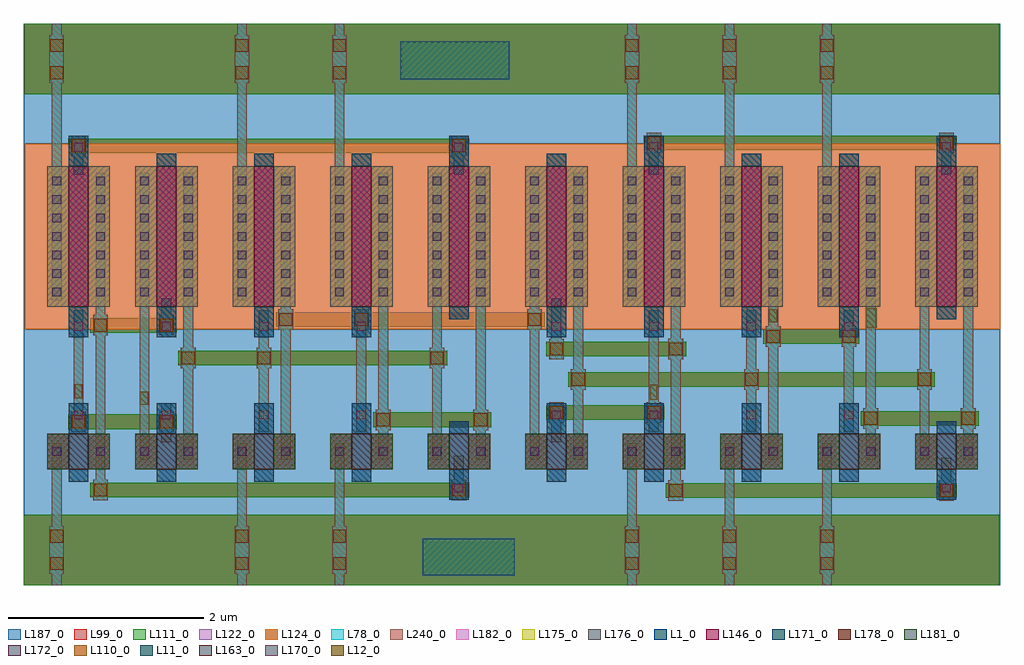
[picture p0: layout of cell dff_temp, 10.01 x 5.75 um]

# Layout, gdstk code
import gdstk
lib = gdstk.Library(unit=1e-6, precision=1e-09)
def R(c, l, rs):  # rectangles x0, y0, x1, y1
    for r in rs: c.add(gdstk.rectangle(r[:2], r[2:], *l))
def A(c, l, x, y, w, h, nx, ny, dx, dy):  # array of equal rectangles
    R(c, l, [(x+i*dx, y+j*dy, x+i*dx+w, y+j*dy+h) for i in range(nx) for j in range(ny)])
def P(c, l, *ps):  # polygons
    for p in ps: c.add(gdstk.Polygon(p, *l))
L1_0 = (1, 0)
L11_0 = (11, 0)
L12_0 = (12, 0)
L78_0 = (78, 0)
L99_0 = (99, 0)
L110_0 = (110, 0)
L111_0 = (111, 0)
L122_0 = (122, 0)
L124_0 = (124, 0)
L146_0 = (146, 0)
L163_0 = (163, 0)
L170_0 = (170, 0)
L171_0 = (171, 0)
L172_0 = (172, 0)
L175_0 = (175, 0)
L176_0 = (176, 0)
L178_0 = (178, 0)
L181_0 = (181, 0)
L182_0 = (182, 0)
L187_0 = (187, 0)
L240_0 = (240, 0)

dff_temp = lib.new_cell('dff_temp')
A(dff_temp, L1_0, 5.305, -6.915, 0.2, 0.805, 3, 1, 1, 0)
A(dff_temp, L1_0, 9.305, -6.915, 0.2, 0.805, 4, 1, 1, 0)
A(dff_temp, L1_0, 5.305, -5.435, 0.2, 1.885, 3, 1, 1, 0)
R(dff_temp, L1_0, [(8.305,-7.1,8.505,-6.295), (13.305,-7.1,13.505,-6.295), (4.405,-6.915,4.605,-6.11), (4.405,-5.435,4.605,-3.365), (9.305,-5.435,9.505,-3.55), (10.305,-5.435,10.505,-3.365), (11.305,-5.435,11.505,-3.55), (12.305,-5.435,12.505,-3.55), (8.305,-5.25,8.505,-3.365), (13.305,-5.25,13.505,-3.365)])
R(dff_temp, L11_0, [(8.035,-7.875,8.98,-7.5), (7.805,-2.785,8.92,-2.4)])
R(dff_temp, L12_0, [(5.135,-6.125,5.22,-5.99), (10.37,-6.075,10.44,-5.92), (4.465,-6.06,4.54,-5.915), (12.585,-5.335,12.69,-5.135), (11.59,-5.28,11.67,-5.145)])
R(dff_temp, L78_0, [(5.13,-6.69,5.23,-3.745)])
P(dff_temp, L78_0, [(4.78,-3.745),(4.78,-5.205),(4.805,-5.205),(4.805,-5.415),(4.78,-5.415),(4.78,-6.895),(4.805,-6.895),(4.805,-7.105),(4.655,-7.105),(4.655,-6.895),(4.68,-6.895),(4.68,-5.415),(4.655,-5.415),(4.655,-5.205),(4.68,-5.205),(4.68,-3.745)],
  [(4.58,-3.365),(4.58,-3.575),(4.555,-3.575),(4.555,-3.765),(4.455,-3.765),(4.455,-3.575),(4.43,-3.575),(4.43,-3.365)],
  [(4.33,-2.22),(4.33,-2.335),(4.355,-2.335),(4.355,-2.825),(4.33,-2.825),(4.33,-5.055),(4.23,-5.055),(4.23,-2.825),(4.205,-2.825),(4.205,-2.335),(4.23,-2.335),(4.23,-2.22)],
  [(4.555,-5.155),(4.555,-6.195),(4.58,-6.195),(4.58,-6.405),(4.43,-6.405),(4.43,-6.195),(4.455,-6.195),(4.455,-5.155)],
  [(4.33,-6.52),(4.33,-7.37),(4.355,-7.37),(4.355,-7.86),(4.33,-7.86),(4.33,-7.975),(4.23,-7.975),(4.23,-7.86),(4.205,-7.86),(4.205,-7.37),(4.23,-7.37),(4.23,-6.52)],
  [(5.455,-5.035),(5.455,-5.205),(5.48,-5.205),(5.48,-5.415),(5.455,-5.415),(5.455,-5.435),(5.355,-5.435),(5.355,-5.415),(5.33,-5.415),(5.33,-5.205),(5.355,-5.205),(5.355,-5.035)],
  [(5.455,-6.11),(5.455,-6.195),(5.48,-6.195),(5.48,-6.405),(5.455,-6.405),(5.455,-6.51),(5.355,-6.51),(5.355,-6.405),(5.33,-6.405),(5.33,-6.195),(5.355,-6.195),(5.355,-6.11)],
  [(5.68,-3.745),(5.68,-5.54),(5.705,-5.54),(5.705,-5.75),(5.68,-5.75),(5.68,-6.69),(5.58,-6.69),(5.58,-5.75),(5.555,-5.75),(5.555,-5.54),(5.58,-5.54),(5.58,-3.745)],
  [(6.68,-3.745),(6.68,-5.145),(6.705,-5.145),(6.705,-5.355),(6.68,-5.355),(6.68,-6.69),(6.58,-6.69),(6.58,-5.355),(6.555,-5.355),(6.555,-5.145),(6.58,-5.145),(6.58,-3.745)],
  [(6.23,-2.22),(6.23,-2.335),(6.255,-2.335),(6.255,-2.825),(6.23,-2.825),(6.23,-5.055),(6.13,-5.055),(6.13,-2.825),(6.105,-2.825),(6.105,-2.335),(6.13,-2.335),(6.13,-2.22)],
  [(6.23,-6.52),(6.23,-7.37),(6.255,-7.37),(6.255,-7.86),(6.23,-7.86),(6.23,-7.975),(6.13,-7.975),(6.13,-7.86),(6.105,-7.86),(6.105,-7.37),(6.13,-7.37),(6.13,-6.52)],
  [(6.455,-5.155),(6.455,-5.54),(6.48,-5.54),(6.48,-5.75),(6.455,-5.75),(6.455,-6.405),(6.355,-6.405),(6.355,-5.75),(6.33,-5.75),(6.33,-5.54),(6.355,-5.54),(6.355,-5.155)],
  [(7.68,-3.745),(7.68,-6.175),(7.705,-6.175),(7.705,-6.385),(7.68,-6.385),(7.68,-6.69),(7.58,-6.69),(7.58,-6.385),(7.555,-6.385),(7.555,-6.175),(7.58,-6.175),(7.58,-3.745)],
  [(7.23,-2.22),(7.23,-2.335),(7.255,-2.335),(7.255,-2.825),(7.23,-2.825),(7.23,-5.055),(7.13,-5.055),(7.13,-2.825),(7.105,-2.825),(7.105,-2.335),(7.13,-2.335),(7.13,-2.22)],
  [(7.23,-6.52),(7.23,-7.37),(7.255,-7.37),(7.255,-7.86),(7.23,-7.86),(7.23,-7.975),(7.13,-7.975),(7.13,-7.86),(7.105,-7.86),(7.105,-7.37),(7.13,-7.37),(7.13,-6.52)],
  [(7.48,-5.145),(7.48,-5.355),(7.455,-5.355),(7.455,-6.405),(7.355,-6.405),(7.355,-5.355),(7.33,-5.355),(7.33,-5.145)],
  [(8.455,-6.65),(8.455,-6.895),(8.48,-6.895),(8.48,-7.105),(8.33,-7.105),(8.33,-6.895),(8.355,-6.895),(8.355,-6.65)],
  [(8.48,-3.365),(8.48,-3.575),(8.455,-3.575),(8.455,-3.765),(8.355,-3.765),(8.355,-3.575),(8.33,-3.575),(8.33,-3.365)],
  [(8.23,-3.745),(8.23,-5.54),(8.255,-5.54),(8.255,-5.75),(8.23,-5.75),(8.23,-6.69),(8.13,-6.69),(8.13,-5.75),(8.105,-5.75),(8.105,-5.54),(8.13,-5.54),(8.13,-3.745)],
  [(8.68,-3.745),(8.68,-6.175),(8.705,-6.175),(8.705,-6.385),(8.68,-6.385),(8.68,-6.69),(8.58,-6.69),(8.58,-6.385),(8.555,-6.385),(8.555,-6.175),(8.58,-6.175),(8.58,-3.745)],
  [(9.455,-5.035),(9.455,-5.45),(9.48,-5.45),(9.48,-5.66),(9.33,-5.66),(9.33,-5.45),(9.355,-5.45),(9.355,-5.035)],
  [(9.48,-6.1),(9.48,-6.31),(9.455,-6.31),(9.455,-6.51),(9.355,-6.51),(9.355,-6.31),(9.33,-6.31),(9.33,-6.1)],
  [(9.23,-3.745),(9.23,-5.145),(9.255,-5.145),(9.255,-5.355),(9.23,-5.355),(9.23,-6.69),(9.13,-6.69),(9.13,-5.355),(9.105,-5.355),(9.105,-5.145),(9.13,-5.145),(9.13,-3.745)],
  [(9.68,-3.745),(9.68,-5.76),(9.705,-5.76),(9.705,-5.97),(9.68,-5.97),(9.68,-6.69),(9.58,-6.69),(9.58,-5.97),(9.555,-5.97),(9.555,-5.76),(9.58,-5.76),(9.58,-3.745)],
  [(10.68,-3.745),(10.68,-5.45),(10.705,-5.45),(10.705,-5.66),(10.68,-5.66),(10.68,-6.9),(10.705,-6.9),(10.705,-7.11),(10.555,-7.11),(10.555,-6.9),(10.58,-6.9),(10.58,-5.66),(10.555,-5.66),(10.555,-5.45),(10.58,-5.45),(10.58,-3.745)],
  [(10.455,-5.155),(10.455,-6.1),(10.48,-6.1),(10.48,-6.31),(10.455,-6.31),(10.455,-6.405),(10.355,-6.405),(10.355,-6.31),(10.33,-6.31),(10.33,-6.1),(10.355,-6.1),(10.355,-5.155)],
  [(10.23,-2.22),(10.23,-2.335),(10.255,-2.335),(10.255,-2.825),(10.23,-2.825),(10.23,-5.055),(10.13,-5.055),(10.13,-2.825),(10.105,-2.825),(10.105,-2.335),(10.13,-2.335),(10.13,-2.22)],
  [(10.23,-6.52),(10.23,-7.37),(10.255,-7.37),(10.255,-7.86),(10.23,-7.86),(10.23,-7.975),(10.13,-7.975),(10.13,-7.86),(10.105,-7.86),(10.105,-7.37),(10.13,-7.37),(10.13,-6.52)],
  [(10.48,-3.335),(10.48,-3.545),(10.455,-3.545),(10.455,-3.765),(10.355,-3.765),(10.355,-3.545),(10.33,-3.545),(10.33,-3.335)],
  [(11.68,-3.745),(11.68,-5.32),(11.705,-5.32),(11.705,-5.53),(11.68,-5.53),(11.68,-6.69),(11.58,-6.69),(11.58,-5.53),(11.555,-5.53),(11.555,-5.32),(11.58,-5.32),(11.58,-3.745)],
  [(11.23,-2.22),(11.23,-2.335),(11.255,-2.335),(11.255,-2.825),(11.23,-2.825),(11.23,-5.055),(11.13,-5.055),(11.13,-2.825),(11.105,-2.825),(11.105,-2.335),(11.13,-2.335),(11.13,-2.22)],
  [(11.23,-6.52),(11.23,-7.37),(11.255,-7.37),(11.255,-7.86),(11.23,-7.86),(11.23,-7.975),(11.13,-7.975),(11.13,-7.86),(11.105,-7.86),(11.105,-7.37),(11.13,-7.37),(11.13,-6.52)],
  [(11.455,-5.155),(11.455,-5.76),(11.48,-5.76),(11.48,-5.97),(11.455,-5.97),(11.455,-6.405),(11.355,-6.405),(11.355,-5.97),(11.33,-5.97),(11.33,-5.76),(11.355,-5.76),(11.355,-5.155)],
  [(12.455,-5.155),(12.455,-5.32),(12.48,-5.32),(12.48,-5.53),(12.455,-5.53),(12.455,-6.405),(12.355,-6.405),(12.355,-5.53),(12.33,-5.53),(12.33,-5.32),(12.355,-5.32),(12.355,-5.155)],
  [(12.23,-6.52),(12.23,-7.37),(12.255,-7.37),(12.255,-7.86),(12.23,-7.86),(12.23,-7.975),(12.13,-7.975),(12.13,-7.86),(12.105,-7.86),(12.105,-7.37),(12.13,-7.37),(12.13,-6.52)],
  [(12.23,-2.22),(12.23,-2.335),(12.255,-2.335),(12.255,-2.825),(12.23,-2.825),(12.23,-5.055),(12.13,-5.055),(12.13,-2.825),(12.105,-2.825),(12.105,-2.335),(12.13,-2.335),(12.13,-2.22)],
  [(12.68,-3.745),(12.68,-6.16),(12.705,-6.16),(12.705,-6.37),(12.68,-6.37),(12.68,-6.69),(12.58,-6.69),(12.58,-6.37),(12.555,-6.37),(12.555,-6.16),(12.58,-6.16),(12.58,-3.745)],
  [(13.455,-6.67),(13.455,-6.9),(13.48,-6.9),(13.48,-7.11),(13.33,-7.11),(13.33,-6.9),(13.355,-6.9),(13.355,-6.67)],
  [(13.48,-3.335),(13.48,-3.545),(13.455,-3.545),(13.455,-3.765),(13.355,-3.765),(13.355,-3.545),(13.33,-3.545),(13.33,-3.335)],
  [(13.68,-3.745),(13.68,-6.16),(13.705,-6.16),(13.705,-6.37),(13.68,-6.37),(13.68,-6.69),(13.58,-6.69),(13.58,-6.37),(13.555,-6.37),(13.555,-6.16),(13.58,-6.16),(13.58,-3.745)],
  [(13.23,-3.745),(13.23,-5.76),(13.255,-5.76),(13.255,-5.97),(13.23,-5.97),(13.23,-6.69),(13.13,-6.69),(13.13,-5.97),(13.105,-5.97),(13.105,-5.76),(13.13,-5.76),(13.13,-3.745)])
R(dff_temp, L99_0, [(3.945,-7.975,13.945,-7.255), (10.525,-7.08,13.51,-6.93), (4.625,-7.075,8.51,-6.925), (4.4,-6.375,5.51,-6.225), (7.525,-6.355,8.735,-6.205), (12.525,-6.34,13.735,-6.19), (9.3,-6.28,10.51,-6.13), (9.525,-5.94,13.285,-5.79), (5.525,-5.72,8.285,-5.57), (9.3,-5.63,10.735,-5.48), (11.525,-5.5,12.51,-5.35), (4.625,-5.385,5.51,-5.235), (6.525,-5.325,9.285,-5.175), (4.4,-3.545,8.51,-3.395), (10.3,-3.515,13.51,-3.365), (3.95,-2.94,13.945,-2.22)])
A(dff_temp, L110_0, 10.115, -7.82, 0.13, 0.13, 3, 2, 1, 0.28)
A(dff_temp, L110_0, 9.565, -5.93, 0.13, 0.13, 3, 1, 1.775, 0)
A(dff_temp, L110_0, 10.115, -2.785, 0.13, 0.13, 3, 2, 1, 0.28)
R(dff_temp, L110_0, [(4.215,-7.82,4.345,-7.69), (6.115,-7.82,6.245,-7.69), (7.115,-7.82,7.245,-7.69), (4.215,-7.54,4.345,-7.41), (6.115,-7.54,6.245,-7.41), (7.115,-7.54,7.245,-7.41), (10.565,-7.07,10.695,-6.94), (13.34,-7.07,13.47,-6.94), (4.665,-7.065,4.795,-6.935), (8.34,-7.065,8.47,-6.935), (4.44,-6.365,4.57,-6.235), (5.34,-6.365,5.47,-6.235), (7.565,-6.345,7.695,-6.215), (8.565,-6.345,8.695,-6.215), (12.565,-6.33,12.695,-6.2), (13.565,-6.33,13.695,-6.2), (9.34,-6.27,9.47,-6.14), (10.34,-6.27,10.47,-6.14), (5.565,-5.71,5.695,-5.58), (6.34,-5.71,6.47,-5.58), (8.115,-5.71,8.245,-5.58), (9.34,-5.62,9.47,-5.49), (10.565,-5.62,10.695,-5.49), (11.565,-5.49,11.695,-5.36), (12.34,-5.49,12.47,-5.36), (4.665,-5.375,4.795,-5.245), (5.34,-5.375,5.47,-5.245), (6.565,-5.315,6.695,-5.185), (7.34,-5.315,7.47,-5.185), (9.115,-5.315,9.245,-5.185), (4.44,-3.535,4.57,-3.405), (8.34,-3.535,8.47,-3.405), (10.34,-3.505,10.47,-3.375), (13.34,-3.505,13.47,-3.375), (4.215,-2.785,4.345,-2.655), (6.115,-2.785,6.245,-2.655), (7.115,-2.785,7.245,-2.655), (4.215,-2.505,4.345,-2.375), (6.115,-2.505,6.245,-2.375), (7.115,-2.505,7.245,-2.375)])
R(dff_temp, L111_0, [(3.945,-7.975,13.945,-7.255), (10.525,-7.08,13.51,-6.93), (4.625,-7.075,8.51,-6.925), (4.4,-6.375,5.51,-6.225), (7.525,-6.355,8.735,-6.205), (12.525,-6.34,13.735,-6.19), (9.3,-6.28,10.51,-6.13), (9.525,-5.94,13.285,-5.79), (5.525,-5.72,8.285,-5.57), (9.3,-5.63,10.735,-5.48), (11.525,-5.5,12.51,-5.35), (4.625,-5.385,5.51,-5.235), (6.525,-5.325,9.285,-5.175), (4.4,-3.545,8.51,-3.395), (10.3,-3.515,13.51,-3.365), (3.95,-2.94,13.945,-2.22)])
R(dff_temp, L122_0, [(3.955,-5.35,13.955,-3.45)])
R(dff_temp, L124_0, [(3.955,-5.35,13.955,-3.45)])
A(dff_temp, L146_0, 5.305, -5.12, 0.2, 1.44, 9, 1, 1, 0)
R(dff_temp, L146_0, [(4.405,-5.12,4.605,-3.68)])
A(dff_temp, L163_0, 5.305, -6.785, 0.2, 0.36, 9, 1, 1, 0)
R(dff_temp, L163_0, [(4.405,-6.785,4.605,-6.425)])
A(dff_temp, L170_0, 5.36, -6.275, 0.09, 0.09, 3, 2, 1, 0.91)
A(dff_temp, L170_0, 9.36, -6.275, 0.09, 0.09, 4, 2, 1, 0.91)
R(dff_temp, L170_0, [(8.36,-7.025,8.45,-6.935), (13.36,-7.025,13.45,-6.935), (4.46,-6.275,4.55,-6.185), (4.46,-5.365,4.55,-5.275), (4.46,-3.53,4.55,-3.44), (8.36,-3.53,8.45,-3.44), (10.36,-3.525,10.45,-3.435), (13.36,-3.525,13.45,-3.435)])
A(dff_temp, L171_0, 5.305, -6.915, 0.2, 0.13, 3, 2, 1, 3.235)
A(dff_temp, L171_0, 9.305, -6.915, 0.2, 0.13, 4, 1, 1, 0)
A(dff_temp, L171_0, 5.305, -6.425, 0.2, 0.315, 3, 2, 1, 0.99)
A(dff_temp, L171_0, 9.305, -6.425, 0.2, 0.315, 4, 2, 1, 0.99)
R(dff_temp, L171_0, [(8.305,-7.1,8.505,-6.785), (13.305,-7.1,13.505,-6.785), (4.405,-6.915,4.605,-6.785), (4.405,-6.425,4.605,-6.11), (8.305,-6.425,8.505,-6.295), (13.305,-6.425,13.505,-6.295), (4.405,-5.435,4.605,-5.12), (8.305,-5.25,8.505,-5.12), (13.305,-5.25,13.505,-5.12), (4.405,-3.68,4.605,-3.365), (8.305,-3.68,8.505,-3.365), (9.305,-3.68,9.505,-3.55), (10.305,-3.68,10.505,-3.365), (11.305,-3.68,11.505,-3.55), (12.305,-3.68,12.505,-3.55), (13.305,-3.68,13.505,-3.365)])
A(dff_temp, L172_0, 4.235, -6.65, 0.09, 0.09, 4, 2, 0.45, 1.635)
A(dff_temp, L172_0, 6.135, -5.015, 0.09, 0.09, 1, 7, 0, 0.19)
A(dff_temp, L172_0, 6.585, -5.015, 0.09, 0.09, 1, 7, 0, 0.19)
A(dff_temp, L172_0, 7.135, -5.015, 0.09, 0.09, 1, 7, 0, 0.19)
A(dff_temp, L172_0, 7.585, -5.015, 0.09, 0.09, 1, 7, 0, 0.19)
A(dff_temp, L172_0, 8.135, -5.015, 0.09, 0.09, 1, 7, 0, 0.19)
A(dff_temp, L172_0, 8.585, -5.015, 0.09, 0.09, 1, 7, 0, 0.19)
A(dff_temp, L172_0, 9.135, -5.015, 0.09, 0.09, 1, 7, 0, 0.19)
A(dff_temp, L172_0, 9.585, -5.015, 0.09, 0.09, 1, 7, 0, 0.19)
A(dff_temp, L172_0, 10.135, -5.015, 0.09, 0.09, 1, 7, 0, 0.19)
A(dff_temp, L172_0, 10.585, -5.015, 0.09, 0.09, 1, 7, 0, 0.19)
A(dff_temp, L172_0, 11.135, -5.015, 0.09, 0.09, 1, 7, 0, 0.19)
A(dff_temp, L172_0, 11.585, -5.015, 0.09, 0.09, 1, 7, 0, 0.19)
A(dff_temp, L172_0, 12.135, -5.015, 0.09, 0.09, 1, 7, 0, 0.19)
A(dff_temp, L172_0, 12.585, -5.015, 0.09, 0.09, 1, 7, 0, 0.19)
A(dff_temp, L172_0, 13.135, -5.015, 0.09, 0.09, 1, 7, 0, 0.19)
A(dff_temp, L172_0, 13.585, -5.015, 0.09, 0.09, 1, 7, 0, 0.19)
A(dff_temp, L172_0, 4.235, -4.825, 0.09, 0.09, 4, 6, 0.45, 0.19)
R(dff_temp, L172_0, [(6.135,-6.65,6.225,-6.56), (6.585,-6.65,6.675,-6.56), (7.135,-6.65,7.225,-6.56), (7.585,-6.65,7.675,-6.56), (8.135,-6.65,8.225,-6.56), (8.585,-6.65,8.675,-6.56), (9.135,-6.65,9.225,-6.56), (9.585,-6.65,9.675,-6.56), (10.135,-6.65,10.225,-6.56), (10.585,-6.65,10.675,-6.56), (11.135,-6.65,11.225,-6.56), (11.585,-6.65,11.675,-6.56), (12.135,-6.65,12.225,-6.56), (12.585,-6.65,12.675,-6.56), (13.135,-6.65,13.225,-6.56), (13.585,-6.65,13.675,-6.56)])
R(dff_temp, L175_0, [(4.185,-5.12,4.405,-3.68), (4.605,-5.12,4.825,-3.68), (5.085,-5.12,5.305,-3.68), (5.505,-5.12,5.725,-3.68), (6.085,-5.12,6.305,-3.68), (6.505,-5.12,6.725,-3.68), (7.085,-5.12,7.305,-3.68), (7.505,-5.12,7.725,-3.68), (8.085,-5.12,8.305,-3.68), (8.505,-5.12,8.725,-3.68), (9.085,-5.12,9.305,-3.68), (9.505,-5.12,9.725,-3.68), (10.085,-5.12,10.305,-3.68), (10.505,-5.12,10.725,-3.68), (11.085,-5.12,11.305,-3.68), (11.505,-5.12,11.725,-3.68), (12.085,-5.12,12.305,-3.68), (12.505,-5.12,12.725,-3.68), (13.085,-5.12,13.305,-3.68), (13.505,-5.12,13.725,-3.68)])
R(dff_temp, L176_0, [(4.185,-5.12,4.405,-3.68), (4.605,-5.12,4.825,-3.68), (5.085,-5.12,5.305,-3.68), (5.505,-5.12,5.725,-3.68), (6.085,-5.12,6.305,-3.68), (6.505,-5.12,6.725,-3.68), (7.085,-5.12,7.305,-3.68), (7.505,-5.12,7.725,-3.68), (8.085,-5.12,8.305,-3.68), (8.505,-5.12,8.725,-3.68), (9.085,-5.12,9.305,-3.68), (9.505,-5.12,9.725,-3.68), (10.085,-5.12,10.305,-3.68), (10.505,-5.12,10.725,-3.68), (11.085,-5.12,11.305,-3.68), (11.505,-5.12,11.725,-3.68), (12.085,-5.12,12.305,-3.68), (12.505,-5.12,12.725,-3.68), (13.085,-5.12,13.305,-3.68), (13.505,-5.12,13.725,-3.68)])
R(dff_temp, L178_0, [(4.185,-6.785,4.405,-6.425), (4.605,-6.785,4.825,-6.425), (5.085,-6.785,5.305,-6.425), (5.505,-6.785,5.725,-6.425), (6.085,-6.785,6.305,-6.425), (6.505,-6.785,6.725,-6.425), (7.085,-6.785,7.305,-6.425), (7.505,-6.785,7.725,-6.425), (8.085,-6.785,8.305,-6.425), (8.505,-6.785,8.725,-6.425), (9.085,-6.785,9.305,-6.425), (9.505,-6.785,9.725,-6.425), (10.085,-6.785,10.305,-6.425), (10.505,-6.785,10.725,-6.425), (11.085,-6.785,11.305,-6.425), (11.505,-6.785,11.725,-6.425), (12.085,-6.785,12.305,-6.425), (12.505,-6.785,12.725,-6.425), (13.085,-6.785,13.305,-6.425), (13.505,-6.785,13.725,-6.425)])
R(dff_temp, L181_0, [(4.185,-6.785,4.405,-6.425), (4.605,-6.785,4.825,-6.425), (5.085,-6.785,5.305,-6.425), (5.505,-6.785,5.725,-6.425), (6.085,-6.785,6.305,-6.425), (6.505,-6.785,6.725,-6.425), (7.085,-6.785,7.305,-6.425), (7.505,-6.785,7.725,-6.425), (8.085,-6.785,8.305,-6.425), (8.505,-6.785,8.725,-6.425), (9.085,-6.785,9.305,-6.425), (9.505,-6.785,9.725,-6.425), (10.085,-6.785,10.305,-6.425), (10.505,-6.785,10.725,-6.425), (11.085,-6.785,11.305,-6.425), (11.505,-6.785,11.725,-6.425), (12.085,-6.785,12.305,-6.425), (12.505,-6.785,12.725,-6.425), (13.085,-6.785,13.305,-6.425), (13.505,-6.785,13.725,-6.425)])
R(dff_temp, L182_0, [(4.185,-6.785,4.405,-6.425), (4.605,-6.785,4.825,-6.425), (5.085,-6.785,5.305,-6.425), (5.505,-6.785,5.725,-6.425), (6.085,-6.785,6.305,-6.425), (6.505,-6.785,6.725,-6.425), (7.085,-6.785,7.305,-6.425), (7.505,-6.785,7.725,-6.425), (8.085,-6.785,8.305,-6.425), (8.505,-6.785,8.725,-6.425), (9.085,-6.785,9.305,-6.425), (9.505,-6.785,9.725,-6.425), (10.085,-6.785,10.305,-6.425), (10.505,-6.785,10.725,-6.425), (11.085,-6.785,11.305,-6.425), (11.505,-6.785,11.725,-6.425), (12.085,-6.785,12.305,-6.425), (12.505,-6.785,12.725,-6.425), (13.085,-6.785,13.305,-6.425), (13.505,-6.785,13.725,-6.425), (4.185,-5.12,4.405,-3.68), (4.605,-5.12,4.825,-3.68), (5.085,-5.12,5.305,-3.68), (5.505,-5.12,5.725,-3.68), (6.085,-5.12,6.305,-3.68), (6.505,-5.12,6.725,-3.68), (7.085,-5.12,7.305,-3.68), (7.505,-5.12,7.725,-3.68), (8.085,-5.12,8.305,-3.68), (8.505,-5.12,8.725,-3.68), (9.085,-5.12,9.305,-3.68), (9.505,-5.12,9.725,-3.68), (10.085,-5.12,10.305,-3.68), (10.505,-5.12,10.725,-3.68), (11.085,-5.12,11.305,-3.68), (11.505,-5.12,11.725,-3.68), (12.085,-5.12,12.305,-3.68), (12.505,-5.12,12.725,-3.68), (13.085,-5.12,13.305,-3.68), (13.505,-5.12,13.725,-3.68)])
P(dff_temp, L187_0, [(13.955,-2.22),(13.955,-3.45),(3.955,-3.45),(3.955,-5.35),(13.955,-5.35),(13.955,-7.975),(3.945,-7.975),(3.945,-2.22)])
R(dff_temp, L240_0, [(5.13,-6.69,5.23,-3.745)])
P(dff_temp, L240_0, [(4.78,-3.745),(4.78,-5.205),(4.805,-5.205),(4.805,-5.415),(4.78,-5.415),(4.78,-6.895),(4.805,-6.895),(4.805,-7.105),(4.655,-7.105),(4.655,-6.895),(4.68,-6.895),(4.68,-5.415),(4.655,-5.415),(4.655,-5.205),(4.68,-5.205),(4.68,-3.745)],
  [(4.58,-3.365),(4.58,-3.575),(4.555,-3.575),(4.555,-3.765),(4.455,-3.765),(4.455,-3.575),(4.43,-3.575),(4.43,-3.365)],
  [(4.33,-2.22),(4.33,-2.335),(4.355,-2.335),(4.355,-2.825),(4.33,-2.825),(4.33,-5.055),(4.23,-5.055),(4.23,-2.825),(4.205,-2.825),(4.205,-2.335),(4.23,-2.335),(4.23,-2.22)],
  [(4.555,-5.155),(4.555,-6.195),(4.58,-6.195),(4.58,-6.405),(4.43,-6.405),(4.43,-6.195),(4.455,-6.195),(4.455,-5.155)],
  [(4.33,-6.52),(4.33,-7.37),(4.355,-7.37),(4.355,-7.86),(4.33,-7.86),(4.33,-7.975),(4.23,-7.975),(4.23,-7.86),(4.205,-7.86),(4.205,-7.37),(4.23,-7.37),(4.23,-6.52)],
  [(5.455,-5.035),(5.455,-5.205),(5.48,-5.205),(5.48,-5.415),(5.455,-5.415),(5.455,-5.435),(5.355,-5.435),(5.355,-5.415),(5.33,-5.415),(5.33,-5.205),(5.355,-5.205),(5.355,-5.035)],
  [(5.455,-6.11),(5.455,-6.195),(5.48,-6.195),(5.48,-6.405),(5.455,-6.405),(5.455,-6.51),(5.355,-6.51),(5.355,-6.405),(5.33,-6.405),(5.33,-6.195),(5.355,-6.195),(5.355,-6.11)],
  [(5.68,-3.745),(5.68,-5.54),(5.705,-5.54),(5.705,-5.75),(5.68,-5.75),(5.68,-6.69),(5.58,-6.69),(5.58,-5.75),(5.555,-5.75),(5.555,-5.54),(5.58,-5.54),(5.58,-3.745)],
  [(6.68,-3.745),(6.68,-5.145),(6.705,-5.145),(6.705,-5.355),(6.68,-5.355),(6.68,-6.69),(6.58,-6.69),(6.58,-5.355),(6.555,-5.355),(6.555,-5.145),(6.58,-5.145),(6.58,-3.745)],
  [(6.23,-2.22),(6.23,-2.335),(6.255,-2.335),(6.255,-2.825),(6.23,-2.825),(6.23,-5.055),(6.13,-5.055),(6.13,-2.825),(6.105,-2.825),(6.105,-2.335),(6.13,-2.335),(6.13,-2.22)],
  [(6.23,-6.52),(6.23,-7.37),(6.255,-7.37),(6.255,-7.86),(6.23,-7.86),(6.23,-7.975),(6.13,-7.975),(6.13,-7.86),(6.105,-7.86),(6.105,-7.37),(6.13,-7.37),(6.13,-6.52)],
  [(6.455,-5.155),(6.455,-5.54),(6.48,-5.54),(6.48,-5.75),(6.455,-5.75),(6.455,-6.405),(6.355,-6.405),(6.355,-5.75),(6.33,-5.75),(6.33,-5.54),(6.355,-5.54),(6.355,-5.155)],
  [(7.68,-3.745),(7.68,-6.175),(7.705,-6.175),(7.705,-6.385),(7.68,-6.385),(7.68,-6.69),(7.58,-6.69),(7.58,-6.385),(7.555,-6.385),(7.555,-6.175),(7.58,-6.175),(7.58,-3.745)],
  [(7.23,-2.22),(7.23,-2.335),(7.255,-2.335),(7.255,-2.825),(7.23,-2.825),(7.23,-5.055),(7.13,-5.055),(7.13,-2.825),(7.105,-2.825),(7.105,-2.335),(7.13,-2.335),(7.13,-2.22)],
  [(7.23,-6.52),(7.23,-7.37),(7.255,-7.37),(7.255,-7.86),(7.23,-7.86),(7.23,-7.975),(7.13,-7.975),(7.13,-7.86),(7.105,-7.86),(7.105,-7.37),(7.13,-7.37),(7.13,-6.52)],
  [(7.48,-5.145),(7.48,-5.355),(7.455,-5.355),(7.455,-6.405),(7.355,-6.405),(7.355,-5.355),(7.33,-5.355),(7.33,-5.145)],
  [(8.455,-6.65),(8.455,-6.895),(8.48,-6.895),(8.48,-7.105),(8.33,-7.105),(8.33,-6.895),(8.355,-6.895),(8.355,-6.65)],
  [(8.48,-3.365),(8.48,-3.575),(8.455,-3.575),(8.455,-3.765),(8.355,-3.765),(8.355,-3.575),(8.33,-3.575),(8.33,-3.365)],
  [(8.23,-3.745),(8.23,-5.54),(8.255,-5.54),(8.255,-5.75),(8.23,-5.75),(8.23,-6.69),(8.13,-6.69),(8.13,-5.75),(8.105,-5.75),(8.105,-5.54),(8.13,-5.54),(8.13,-3.745)],
  [(8.68,-3.745),(8.68,-6.175),(8.705,-6.175),(8.705,-6.385),(8.68,-6.385),(8.68,-6.69),(8.58,-6.69),(8.58,-6.385),(8.555,-6.385),(8.555,-6.175),(8.58,-6.175),(8.58,-3.745)],
  [(9.455,-5.035),(9.455,-5.45),(9.48,-5.45),(9.48,-5.66),(9.33,-5.66),(9.33,-5.45),(9.355,-5.45),(9.355,-5.035)],
  [(9.48,-6.1),(9.48,-6.31),(9.455,-6.31),(9.455,-6.51),(9.355,-6.51),(9.355,-6.31),(9.33,-6.31),(9.33,-6.1)],
  [(9.23,-3.745),(9.23,-5.145),(9.255,-5.145),(9.255,-5.355),(9.23,-5.355),(9.23,-6.69),(9.13,-6.69),(9.13,-5.355),(9.105,-5.355),(9.105,-5.145),(9.13,-5.145),(9.13,-3.745)],
  [(9.68,-3.745),(9.68,-5.76),(9.705,-5.76),(9.705,-5.97),(9.68,-5.97),(9.68,-6.69),(9.58,-6.69),(9.58,-5.97),(9.555,-5.97),(9.555,-5.76),(9.58,-5.76),(9.58,-3.745)],
  [(10.68,-3.745),(10.68,-5.45),(10.705,-5.45),(10.705,-5.66),(10.68,-5.66),(10.68,-6.9),(10.705,-6.9),(10.705,-7.11),(10.555,-7.11),(10.555,-6.9),(10.58,-6.9),(10.58,-5.66),(10.555,-5.66),(10.555,-5.45),(10.58,-5.45),(10.58,-3.745)],
  [(10.455,-5.155),(10.455,-6.1),(10.48,-6.1),(10.48,-6.31),(10.455,-6.31),(10.455,-6.405),(10.355,-6.405),(10.355,-6.31),(10.33,-6.31),(10.33,-6.1),(10.355,-6.1),(10.355,-5.155)],
  [(10.23,-2.22),(10.23,-2.335),(10.255,-2.335),(10.255,-2.825),(10.23,-2.825),(10.23,-5.055),(10.13,-5.055),(10.13,-2.825),(10.105,-2.825),(10.105,-2.335),(10.13,-2.335),(10.13,-2.22)],
  [(10.23,-6.52),(10.23,-7.37),(10.255,-7.37),(10.255,-7.86),(10.23,-7.86),(10.23,-7.975),(10.13,-7.975),(10.13,-7.86),(10.105,-7.86),(10.105,-7.37),(10.13,-7.37),(10.13,-6.52)],
  [(10.48,-3.335),(10.48,-3.545),(10.455,-3.545),(10.455,-3.765),(10.355,-3.765),(10.355,-3.545),(10.33,-3.545),(10.33,-3.335)],
  [(11.68,-3.745),(11.68,-5.32),(11.705,-5.32),(11.705,-5.53),(11.68,-5.53),(11.68,-6.69),(11.58,-6.69),(11.58,-5.53),(11.555,-5.53),(11.555,-5.32),(11.58,-5.32),(11.58,-3.745)],
  [(11.23,-2.22),(11.23,-2.335),(11.255,-2.335),(11.255,-2.825),(11.23,-2.825),(11.23,-5.055),(11.13,-5.055),(11.13,-2.825),(11.105,-2.825),(11.105,-2.335),(11.13,-2.335),(11.13,-2.22)],
  [(11.23,-6.52),(11.23,-7.37),(11.255,-7.37),(11.255,-7.86),(11.23,-7.86),(11.23,-7.975),(11.13,-7.975),(11.13,-7.86),(11.105,-7.86),(11.105,-7.37),(11.13,-7.37),(11.13,-6.52)],
  [(11.455,-5.155),(11.455,-5.76),(11.48,-5.76),(11.48,-5.97),(11.455,-5.97),(11.455,-6.405),(11.355,-6.405),(11.355,-5.97),(11.33,-5.97),(11.33,-5.76),(11.355,-5.76),(11.355,-5.155)],
  [(12.455,-5.155),(12.455,-5.32),(12.48,-5.32),(12.48,-5.53),(12.455,-5.53),(12.455,-6.405),(12.355,-6.405),(12.355,-5.53),(12.33,-5.53),(12.33,-5.32),(12.355,-5.32),(12.355,-5.155)],
  [(12.23,-6.52),(12.23,-7.37),(12.255,-7.37),(12.255,-7.86),(12.23,-7.86),(12.23,-7.975),(12.13,-7.975),(12.13,-7.86),(12.105,-7.86),(12.105,-7.37),(12.13,-7.37),(12.13,-6.52)],
  [(12.23,-2.22),(12.23,-2.335),(12.255,-2.335),(12.255,-2.825),(12.23,-2.825),(12.23,-5.055),(12.13,-5.055),(12.13,-2.825),(12.105,-2.825),(12.105,-2.335),(12.13,-2.335),(12.13,-2.22)],
  [(12.68,-3.745),(12.68,-6.16),(12.705,-6.16),(12.705,-6.37),(12.68,-6.37),(12.68,-6.69),(12.58,-6.69),(12.58,-6.37),(12.555,-6.37),(12.555,-6.16),(12.58,-6.16),(12.58,-3.745)],
  [(13.455,-6.67),(13.455,-6.9),(13.48,-6.9),(13.48,-7.11),(13.33,-7.11),(13.33,-6.9),(13.355,-6.9),(13.355,-6.67)],
  [(13.48,-3.335),(13.48,-3.545),(13.455,-3.545),(13.455,-3.765),(13.355,-3.765),(13.355,-3.545),(13.33,-3.545),(13.33,-3.335)],
  [(13.68,-3.745),(13.68,-6.16),(13.705,-6.16),(13.705,-6.37),(13.68,-6.37),(13.68,-6.69),(13.58,-6.69),(13.58,-6.37),(13.555,-6.37),(13.555,-6.16),(13.58,-6.16),(13.58,-3.745)],
  [(13.23,-3.745),(13.23,-5.76),(13.255,-5.76),(13.255,-5.97),(13.23,-5.97),(13.23,-6.69),(13.13,-6.69),(13.13,-5.97),(13.105,-5.97),(13.105,-5.76),(13.13,-5.76),(13.13,-3.745)])

lib.write_gds('dff_temp.gds')
